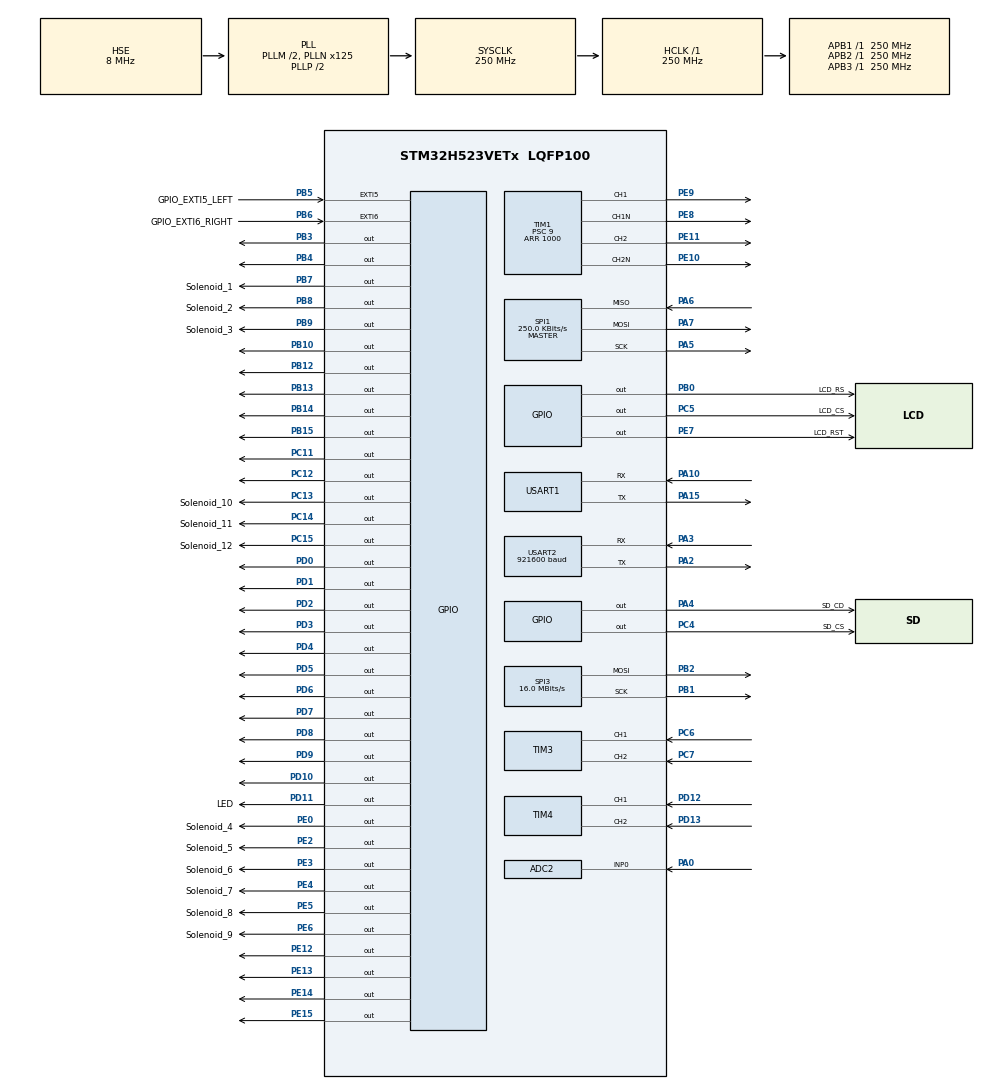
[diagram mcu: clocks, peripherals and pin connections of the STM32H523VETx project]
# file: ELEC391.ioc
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ADC2.Channel-5\#ChannelRegularConversion=ADC_CHANNEL_0
ADC2.ContinuousConvMode=ENABLE
ADC2.DMAContinuousRequests=ENABLE
ADC2.MonitoredBy-5\#ChannelRegularConversion=__NULL
ADC2.NbrOfConversionFlag=1
ADC2.OffsetNumber-5\#ChannelRegularConversion=ADC_OFFSET_NONE
ADC2.Rank-5\#ChannelRegularConversion=1
ADC2.SamplingTime-5\#ChannelRegularConversion=ADC_SAMPLETIME_2CYCLES_5
BOOTPATH.BootPathName=LEGACY
BOOTPATH.UserSelectedBootPath=LEGACY
CORTEX_M33_NS.userName=CORTEX_M33
GPDMA1.CIRCULARMODE_GPDMACH1=ENABLE
GPDMA1.DESTINC_GPDMACH1=DMA_DINC_INCREMENTED
GPDMA1.DESTINC_GPDMACH2=DMA_DINC_INCREMENTED
GPDMA1.DIRECTION_GPDMACH0=DMA_MEMORY_TO_PERIPH
GPDMA1.IPHANDLE_GPDMACH0-SIMPLEREQUEST_GPDMACH0=__NULL
GPDMA1.IPHANDLE_GPDMACH1-SIMPLEREQUEST_GPDMACH1=__NULL
GPDMA1.IPHANDLE_GPDMACH2-SIMPLEREQUEST_GPDMACH2=__NULL
GPDMA1.REQUEST_GPDMACH0=GPDMA1_REQUEST_USART2_TX
GPDMA1.REQUEST_GPDMACH1=GPDMA1_REQUEST_USART2_RX
GPDMA1.REQUEST_GPDMACH2=GPDMA1_REQUEST_ADC2
GPDMA1.SRCINC_GPDMACH0=DMA_SINC_INCREMENTED
Mcu.Family=STM32H5
Mcu.Name=STM32H523VETx
Mcu.Package=LQFP100
NVIC.EXTI5_IRQn=true\:0\:0\:false\:false\:true\:true\:true\:true
NVIC.EXTI6_IRQn=true\:0\:0\:false\:false\:true\:true\:true\:true
NVIC.GPDMA1_Channel0_IRQn=true\:0\:0\:false\:false\:true\:false\:true\:true
NVIC.GPDMA1_Channel1_IRQn=true\:0\:0\:false\:false\:true\:false\:true\:true
NVIC.GPDMA1_Channel2_IRQn=true\:0\:0\:false\:false\:true\:false\:true\:true
NVIC.PriorityGroup=NVIC_PRIORITYGROUP_4
NVIC.TIM2_IRQn=true\:0\:0\:false\:false\:true\:true\:true\:true
NVIC.TIM5_IRQn=true\:0\:0\:false\:false\:true\:true\:true\:true
NVIC.USART1_IRQn=true\:0\:0\:false\:false\:true\:true\:true\:true
NVIC.USART2_IRQn=true\:0\:0\:false\:false\:true\:true\:true\:true
PA0.Signal=ADCx_INP0
PA10.Mode=Asynchronous
PA10.Signal=USART1_RX
PA13(JTMS/SWDIO).Mode=Serial_Wire
PA13(JTMS/SWDIO).Signal=DEBUG_JTMS-SWDIO
PA14(JTCK/SWCLK).Mode=Serial_Wire
PA14(JTCK/SWCLK).Signal=DEBUG_JTCK-SWCLK
PA15(JTDI).Mode=Asynchronous
PA15(JTDI).Signal=USART1_TX
PA2.GPIO_Speed=GPIO_SPEED_FREQ_HIGH
PA2.Mode=Asynchronous
PA2.Signal=USART2_TX
PA3.GPIO_Speed=GPIO_SPEED_FREQ_HIGH
PA3.Mode=Asynchronous
PA3.Signal=USART2_RX
PA4.GPIO_Label=SD_CD
PA4.Signal=GPIO_Output
PA5.Mode=Full_Duplex_Master
PA5.Signal=SPI1_SCK
PA6.Mode=Full_Duplex_Master
PA6.Signal=SPI1_MISO
PA7.Mode=Full_Duplex_Master
PA7.Signal=SPI1_MOSI
PB0.GPIO_Label=LCD_RS
PB0.Signal=GPIO_Output
PB1.Mode=TX_Only_Simplex_Unidirect_Master
PB1.Signal=SPI3_SCK
PB10.Signal=GPIO_Output
PB12.Signal=GPIO_Output
PB13.Signal=GPIO_Output
PB14.Signal=GPIO_Output
PB15.Signal=GPIO_Output
PB2.Mode=TX_Only_Simplex_Unidirect_Master
PB2.Signal=SPI3_MOSI
PB3(JTDO/TRACESWO).Signal=GPIO_Output
PB4(NJTRST).Signal=GPIO_Output
PB5.GPIO_Label=GPIO_EXTI5_LEFT
PB5.GPIO_ModeDefaultEXTI=GPIO_MODE_IT_FALLING
PB5.Signal=GPXTI5
PB6.GPIO_Label=GPIO_EXTI6_RIGHT
PB6.GPIO_ModeDefaultEXTI=GPIO_MODE_IT_FALLING
PB6.Signal=GPXTI6
PB7.GPIO_Label=Solenoid_1
PB7.Signal=GPIO_Output
PB8.GPIO_Label=Solenoid_2
PB8.Signal=GPIO_Output
PB9.GPIO_Label=Solenoid_3
PB9.Signal=GPIO_Output
PC11.Signal=GPIO_Output
PC12.Signal=GPIO_Output
PC13.GPIO_Label=Solenoid_10
PC13.Signal=GPIO_Output
PC14-OSC32_IN(OSC32_IN).GPIO_Label=Solenoid_11
PC14-OSC32_IN(OSC32_IN).Signal=GPIO_Output
PC15-OSC32_OUT(OSC32_OUT).GPIO_Label=Solenoid_12
PC15-OSC32_OUT(OSC32_OUT).Signal=GPIO_Output
PC4.GPIO_Label=SD_CS
PC4.Signal=GPIO_Output
PC5.GPIO_Label=LCD_CS
PC5.Signal=GPIO_Output
PC6.Signal=S_TIM3_CH1
PC7.Signal=S_TIM3_CH2
PD0.Signal=GPIO_Output
PD1.Signal=GPIO_Output
PD10.Signal=GPIO_Output
PD11.GPIO_Label=LED
PD11.Signal=GPIO_Output
PD12.Signal=S_TIM4_CH1
PD13.Signal=S_TIM4_CH2
PD2.Signal=GPIO_Output
PD3.Signal=GPIO_Output
PD4.Signal=GPIO_Output
PD5.Signal=GPIO_Output
PD6.Signal=GPIO_Output
PD7.Signal=GPIO_Output
PD8.Signal=GPIO_Output
PD9.Signal=GPIO_Output
PE0.GPIO_Label=Solenoid_4
PE0.Signal=GPIO_Output
PE10.Mode=PWM Generation2 CH2 CH2N
PE10.Signal=TIM1_CH2N
PE11.Signal=S_TIM1_CH2
PE12.Signal=GPIO_Output
PE13.Signal=GPIO_Output
PE14.Signal=GPIO_Output
PE15.Signal=GPIO_Output
PE2.GPIO_Label=Solenoid_5
PE2.Signal=GPIO_Output
PE3.GPIO_Label=Solenoid_6
PE3.Signal=GPIO_Output
PE4.GPIO_Label=Solenoid_7
PE4.Signal=GPIO_Output
PE5.GPIO_Label=Solenoid_8
PE5.Signal=GPIO_Output
PE6.GPIO_Label=Solenoid_9
PE6.Signal=GPIO_Output
PE7.GPIO_Label=LCD_RST
PE7.Signal=GPIO_Output
PE8.Mode=PWM Generation1 CH1 CH1N
PE8.Signal=TIM1_CH1N
PE9.Signal=S_TIM1_CH1
PH0-OSC_IN(PH0).Mode=HSE-External-Oscillator
PH0-OSC_IN(PH0).Signal=RCC_OSC_IN
PH1-OSC_OUT(PH1).Mode=HSE-External-Oscillator
PH1-OSC_OUT(PH1).Signal=RCC_OSC_OUT
ProjectManager.HeapSize=0x200
ProjectManager.StackSize=0x400
ProjectManager.TargetToolchain=Makefile
RCC.ADCFreq_Value=250000000
RCC.AHBFreq_Value=250000000
RCC.APB1Freq_Value=250000000
RCC.APB1TimFreq_Value=250000000
RCC.APB2Freq_Value=250000000
RCC.APB2TimFreq_Value=250000000
RCC.APB3Freq_Value=250000000
RCC.CSI_VALUE=4000000
RCC.CortexFreq_Value=250000000
RCC.EPOD_VALUE=8000000
RCC.HCLKFreq_Value=250000000
RCC.HSE_VALUE=8000000
RCC.HSI48_VALUE=48000000
RCC.HSI_VALUE=64000000
RCC.LSE_VALUE=32768
RCC.LSIRC_VALUE=32000
RCC.PLLM=2
RCC.PLLN=125
RCC.PLLSourceVirtual=RCC_PLL1_SOURCE_HSE
RCC.SPI1CLockSelection=RCC_SPI1CLKSOURCE_CLKP
RCC.SPI3CLockSelection=RCC_SPI3CLKSOURCE_CLKP
RCC.SYSCLKFreq_VALUE=250000000
RCC.SYSCLKSource=RCC_SYSCLKSOURCE_PLLCLK
RCC.USBFreq_Value=48000000
RCC.VCOOutputFreq_Value=500000000
SH.ADCx_INP0.0=ADC2_INP0,IN0-Single-Ended
SH.S_TIM1_CH1.0=TIM1_CH1,PWM Generation1 CH1 CH1N
SH.S_TIM1_CH2.0=TIM1_CH2,PWM Generation2 CH2 CH2N
SH.S_TIM3_CH1.0=TIM3_CH1,Encoder_Interface
SH.S_TIM3_CH2.0=TIM3_CH2,Encoder_Interface
SH.S_TIM4_CH1.0=TIM4_CH1,Encoder_Interface
SH.S_TIM4_CH2.0=TIM4_CH2,Encoder_Interface
SPI1.BaudRatePrescaler=SPI_BAUDRATEPRESCALER_128
SPI1.CalculateBaudRate=250.0 KBits/s
SPI1.DataSize=SPI_DATASIZE_8BIT
SPI1.Direction=SPI_DIRECTION_2LINES
SPI1.Mode=SPI_MODE_MASTER
SPI1.VirtualType=VM_MASTER
SPI3.BaudRatePrescaler=SPI_BAUDRATEPRESCALER_2
SPI3.CalculateBaudRate=16.0 MBits/s
SPI3.DataSize=SPI_DATASIZE_8BIT
SPI3.Direction=SPI_DIRECTION_2LINES_TXONLY
SPI3.Mode=SPI_MODE_MASTER
SPI3.VirtualType=VM_MASTER
TIM1.Channel-PWM\ Generation1\ CH1\ CH1N=TIM_CHANNEL_1
TIM1.Channel-PWM\ Generation2\ CH2\ CH2N=TIM_CHANNEL_2
TIM1.ClockDivision=TIM_CLOCKDIVISION_DIV2
TIM1.DeadTime=240
TIM1.PeriodNoDither=1000
TIM1.Prescaler=9
TIM2.PeriodNoDither=999
TIM2.Prescaler=249
TIM3.EncoderMode=TIM_ENCODERMODE_TI12
TIM3.IC1Filter=15
TIM3.IC2Filter=15
TIM4.EncoderMode=TIM_ENCODERMODE_TI12
TIM4.IC1Filter=15
TIM4.IC2Filter=15
TIM5.PeriodNoDither=999
TIM5.Prescaler=249
USART1.VirtualMode-Asynchronous=VM_ASYNC
USART2.BaudRate=921600
USART2.VirtualMode-Asynchronous=VM_ASYNC
VP_BOOTPATH_VS_BOOTPATH.Mode=BP_Activate
VP_CORTEX_M33_NS_VS_Hclk.Mode=Hclk_Mode
VP_GPDMA1_VS_GPDMACH0.Mode=SIMPLEREQUEST_GPDMACH0
VP_GPDMA1_VS_GPDMACH1.Mode=SIMPLEREQUEST_GPDMACH1
VP_GPDMA1_VS_GPDMACH2.Mode=SIMPLEREQUEST_GPDMACH2
VP_ICACHE_VS_ICACHE.Mode=DefaultMode
VP_MEMORYMAP_VS_MEMORYMAP.Mode=CurAppReg
VP_PWR_VS_LPOM.Mode=PowerOptimisation
VP_PWR_VS_SECSignals.Mode=Security/Privilege
VP_TIM2_VS_ClockSourceINT.Mode=Internal
VP_TIM5_VS_ClockSourceINT.Mode=Internal
board=custom

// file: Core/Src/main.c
/* USER CODE BEGIN Header */
/**
  ******************************************************************************
  * @file           : main.c
  * @brief          : Main program body
  ******************************************************************************
  * @attention
  *
  * Copyright (c) 2026 STMicroelectronics.
  * All rights reserved.
  *
  * This software is licensed under terms that can be found in the LICENSE file
  * in the root directory of this software component.
  * If no LICENSE file comes with this software, it is provided AS-IS.
  *
  ******************************************************************************
  */
/* USER CODE END Header */
#include "main.h"
#include "adc.h"
#include "gpdma.h"
#include "icache.h"
#include "spi.h"
#include "tim.h"
#include "usart.h"
#include "gpio.h"

/* USER CODE BEGIN Includes */
#include <application.h>
#include <ff.h>
#include <config.h>
#include <user_timer.h>
/* USER CODE END Includes */

/* USER CODE BEGIN PV */

// lcd buffer variables
char buffer_message[280] = {0};
char LCD_Send_buf[32];

// sd card variables
FATFS fs; // file system object
FIL file; // file object
FRESULT res; // result code from file operations
UINT bytes_written; // number of bytes written

// state machine variables
uint8_t state = 0; // state of the system

extern uint8_t menu_update_flag;

/* USER CODE END PV */

void SystemClock_Config(void);
void PeriphCommonClock_Config(void);

int main(void)
{

  /* MCU Configuration--------------------------------------------------------*/

  /* Reset of all peripherals, Initializes the Flash interface and the Systick. */
  HAL_Init();

  /* Configure the system clock */
  SystemClock_Config();

  /* Configure the peripherals common clocks */
  PeriphCommonClock_Config();

  /* Initialize all configured peripherals */
  MX_GPIO_Init();
  MX_GPDMA1_Init();
  MX_ADC2_Init();
  MX_ICACHE_Init();
  MX_SPI1_Init();
  MX_SPI3_Init();
  MX_TIM1_Init();
  MX_TIM3_Init();
  MX_TIM4_Init();
  MX_USART2_UART_Init();
  MX_USART1_UART_Init();
  MX_TIM2_Init();
  MX_TIM5_Init();
  /* USER CODE BEGIN 2 */
  // init HC-04 UART receive to idle mode with DMA
  hc04_receive_to_idle_init(&huart2, rx_message_buffer, sizeof(rx_message_buffer));
  // init LCD
  LCD_init();
  LCD_draw_string(0, 1, "Loading...       ", COLOR_BLACK, COLOR_WHITE);
  // calib the ADC
  HAL_ADCEx_Calibration_Start(&hadc2, ADC_SINGLE_ENDED);
  // start ADC with DMA (also enables conversion complete interrupt)
  HAL_ADC_Start_DMA(&hadc2, (uint32_t*)ADC_dma_buffer, 1);

#ifndef DEBUGMODE // debug mode do not use SD card or menu
  // SD card init
  hc04_send_string((uint8_t*)"Mounting SD card...");
  HAL_Delay(1000);
  res = f_mount(&fs, "", 1);
  HAL_Delay(200);
  if (res != FR_OK) {
    snprintf(buffer_message, sizeof(buffer_message), "Failed to mount SD card: %d", res);
    hc04_send_string((uint8_t*)buffer_message);
  }
  else {
    hc04_send_string((uint8_t*)"SD card mounted successfully");
  }
  HAL_Delay(500);

  sd_list_files();

  sd_print_file("HEY.txt");

  sd_parse_array("music1.txt");
#endif
  // timer tick init
  user_timer_tick_init();

  // Timer5 0.5 ms for measurements
  HAL_TIM_Base_Start_IT(&htim5);

  // Timer2 1 ms for general timing
  HAL_TIM_Base_Start_IT(&htim2);

  // Encoders
  encoder_start(&htim3);
  encoder_start(&htim4);

  // enable pwm:
  HAL_TIM_PWM_Start(&htim1, TIM_CHANNEL_1);
  HAL_TIMEx_PWMN_Start(&htim1, TIM_CHANNEL_1);
  HAL_TIM_PWM_Start(&htim1, TIM_CHANNEL_2);
  HAL_TIMEx_PWMN_Start(&htim1, TIM_CHANNEL_2);

  // initially not moving, so set compare to 500 (0% duty cycle)
  __HAL_TIM_SET_COMPARE(&htim1, TIM_CHANNEL_1, 500);
  __HAL_TIM_SET_COMPARE(&htim1, TIM_CHANNEL_2, 500);

  pwm_mode = PWM_STOP;
  home_flag_left = 0;
  home_flag_right = 0;
  homing = 0;

  controller_init(); // initialize controller state
  LCD_draw_string(0, 1, "Setting Complete       ", COLOR_BLACK, COLOR_WHITE);

  wait_ms(1000);
  LCD_draw_string(0, 1, "Start Loading Song     ", COLOR_BLACK, COLOR_WHITE);
  // load the debug song in RAM:
  load_debug_song2();
  LCD_draw_string(0, 1, "Song Loaded            ", COLOR_BLACK, COLOR_WHITE);
  wait_ms(1000); // wait for everything ready!

#ifndef DEBUGMODE
  menu_init();
#endif
  /* USER CODE END 2 */

  /* Infinite loop */
  /* USER CODE BEGIN WHILE */
  while (1)
  {
    // toggle LED pin to show main loop is not blocking
    // HAL_GPIO_TogglePin(GPIOA, GPIO_PIN_10);

#ifndef DEBUGMODE
    // check incoming message with \n:
    if (rx_complete) {
      // copy message locally so ISR can safely start receiving next one
      static uint8_t cmd_copy[256];
      uint16_t cmd_len = rx_valid;
      memcpy(cmd_copy, rx_message, cmd_len + 1); // +1 for '\0'
      rx_complete = 0; // clear AFTER copy, INSIDE the if block
      menu_process_message(cmd_copy, cmd_len);
    }

    // ISR accumulated bytes without \n
    if (rx_message_index > 0){
      if (menu_try_dispatch_binary(rx_message, rx_message_index)) {
        rx_message_index = 0;
      }
    }

    // update menu display
    // if(menu_update_flag == 1){
    //   menu_update();
    //   menu_update_flag = 0;
    // }
    menu_update();
#else
    // in debug mode just display the current position from encoder
    // disable the DEBUG on LCD rn
    // char pos_buf[32];
    // int16_t temp;
    // temp = encoder_read_value(&htim4);
    // current_distance_mm = encoder_parse_distance_mm(temp);
    // snprintf(pos_buf, sizeof(pos_buf), "Position cnt: %d mm", temp);
    // LCD_draw_string(0, 1, pos_buf, COLOR_BLACK, COLOR_WHITE);

    // // also read the ADC value:
    // ADC_voltage = (float)(ADC_dma_buffer[0]) * 3.3f / 4095.0f; // convert ADC value to voltage
    // const float ADC_current = ADC_voltage / 0.005f; // convert voltage to current (assuming 0.1 ohm shunt resistor)
    // char adc_buf[32];
    // snprintf(adc_buf, sizeof(adc_buf), "ADC current: %.4f A", ADC_current);
    // LCD_draw_string(0, 2, adc_buf, COLOR_BLACK, COLOR_WHITE);

    __HAL_TIM_SET_COMPARE(&htim1, TIM_CHANNEL_1, 750); // set 50% duty cycle for testing
    __HAL_TIM_SET_COMPARE(&htim1, TIM_CHANNEL_2, 750);
    // HAL_UART_Transmit_DMA(&huart2, (uint8_t*)"test\n", 5);
    // HAL_Delay(1000);
#endif
  }

    /* USER CODE END WHILE */

}

void SystemClock_Config(void)
{
  RCC_OscInitTypeDef RCC_OscInitStruct = {0};
  RCC_ClkInitTypeDef RCC_ClkInitStruct = {0};

  /** Configure the main internal regulator output voltage
  */
  __HAL_PWR_VOLTAGESCALING_CONFIG(PWR_REGULATOR_VOLTAGE_SCALE0);

  while(!__HAL_PWR_GET_FLAG(PWR_FLAG_VOSRDY)) {}

  /** Initializes the RCC Oscillators according to the specified parameters
  * in the RCC_OscInitTypeDef structure.
  */
  RCC_OscInitStruct.OscillatorType = RCC_OSCILLATORTYPE_HSI|RCC_OSCILLATORTYPE_HSE;
  RCC_OscInitStruct.HSEState = RCC_HSE_ON;
  RCC_OscInitStruct.HSIState = RCC_HSI_ON;
  RCC_OscInitStruct.HSIDiv = RCC_HSI_DIV2;
  RCC_OscInitStruct.HSICalibrationValue = RCC_HSICALIBRATION_DEFAULT;
  RCC_OscInitStruct.PLL.PLLState = RCC_PLL_ON;
  RCC_OscInitStruct.PLL.PLLSource = RCC_PLL1_SOURCE_HSE;
  RCC_OscInitStruct.PLL.PLLM = 2;
  RCC_OscInitStruct.PLL.PLLN = 125;
  RCC_OscInitStruct.PLL.PLLP = 2;
  RCC_OscInitStruct.PLL.PLLQ = 2;
  RCC_OscInitStruct.PLL.PLLR = 2;
  RCC_OscInitStruct.PLL.PLLRGE = RCC_PLL1_VCIRANGE_2;
  RCC_OscInitStruct.PLL.PLLVCOSEL = RCC_PLL1_VCORANGE_WIDE;
  RCC_OscInitStruct.PLL.PLLFRACN = 0;
  if (HAL_RCC_OscConfig(&RCC_OscInitStruct) != HAL_OK)
  {
    Error_Handler();
  }

  /** Initializes the CPU, AHB and APB buses clocks
  */
  RCC_ClkInitStruct.ClockType = RCC_CLOCKTYPE_HCLK|RCC_CLOCKTYPE_SYSCLK
                              |RCC_CLOCKTYPE_PCLK1|RCC_CLOCKTYPE_PCLK2
                              |RCC_CLOCKTYPE_PCLK3;
  RCC_ClkInitStruct.SYSCLKSource = RCC_SYSCLKSOURCE_PLLCLK;
  RCC_ClkInitStruct.AHBCLKDivider = RCC_SYSCLK_DIV1;
  RCC_ClkInitStruct.APB1CLKDivider = RCC_HCLK_DIV1;
  RCC_ClkInitStruct.APB2CLKDivider = RCC_HCLK_DIV1;
  RCC_ClkInitStruct.APB3CLKDivider = RCC_HCLK_DIV1;

  if (HAL_RCC_ClockConfig(&RCC_ClkInitStruct, FLASH_LATENCY_5) != HAL_OK)
  {
    Error_Handler();
  }

  /** Configure the programming delay
  */
  __HAL_FLASH_SET_PROGRAM_DELAY(FLASH_PROGRAMMING_DELAY_2);
}

void PeriphCommonClock_Config(void)
{
  RCC_PeriphCLKInitTypeDef PeriphClkInitStruct = {0};

  /** Initializes the peripherals clock
  */
  PeriphClkInitStruct.PeriphClockSelection = RCC_PERIPHCLK_CKPER;
  PeriphClkInitStruct.CkperClockSelection = RCC_CLKPSOURCE_HSI;
  if (HAL_RCCEx_PeriphCLKConfig(&PeriphClkInitStruct) != HAL_OK)
  {
    Error_Handler();
  }
}

void Error_Handler(void)
{
  __disable_irq();
  while (1)
  {
  }
}
